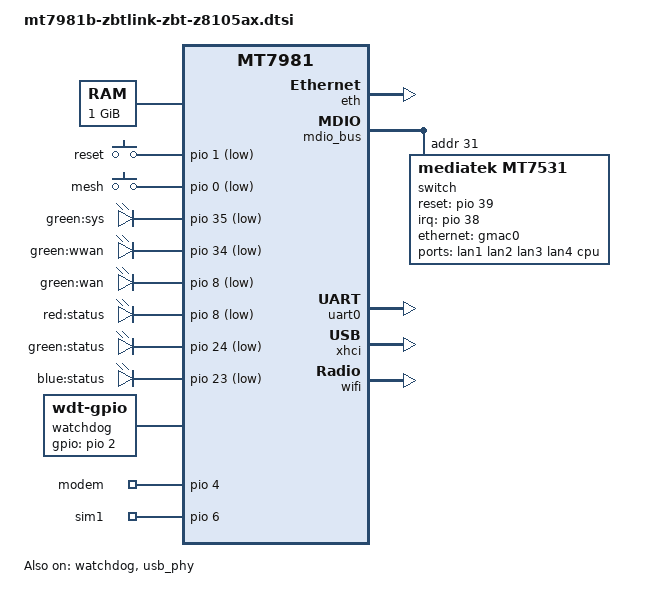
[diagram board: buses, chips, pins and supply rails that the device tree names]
// SPDX-License-Identifier: GPL-2.0-or-later OR MIT

/dts-v1/;

#include "mt7981.dtsi"

/ {
	compatible = "zbtlink,zbt-z8105ax", "mediatek,mt7981";

	aliases {
		serial0 = &uart0;
		led-boot = &led_status_sys;
		led-failsafe = &led_status_sys;
		led-running = &led_status_sys;
		led-upgrade = &led_status_sys;
		label-mac-device = &gmac0;
	};

	memory {
		reg = <0 0x40000000 0 0x40000000>;
	};

	gpio-keys {
		compatible = "gpio-keys";

		button-reset {
			label = "reset";
			linux,code = <KEY_RESTART>;
			gpios = <&pio 1 GPIO_ACTIVE_LOW>;
		};

		button-mesh {
			label = "mesh";
			linux,code = <BTN_0>;
			gpios = <&pio 0 GPIO_ACTIVE_LOW>;
		};
	};

	leds {
		compatible = "gpio-leds";

		led_status_sys: sys {
			label = "green:sys";
			gpios = <&pio 35 GPIO_ACTIVE_LOW>;
		};

		wwan {
			label = "green:wwan";
			gpios = <&pio 34 GPIO_ACTIVE_LOW>;
		};

		wan {
			label = "green:wan";
			gpios = <&pio 8 GPIO_ACTIVE_LOW>;
		};

		red {
			label = "red:status";
			gpios = <&pio 8 GPIO_ACTIVE_LOW>;
		};

		green {
			label = "green:status";
			gpios = <&pio 24 GPIO_ACTIVE_LOW>;
		};

		blue {
			label = "blue:status";
			gpios = <&pio 23 GPIO_ACTIVE_LOW>;
		};

	};

	watchdog {
		compatible = "linux,wdt-gpio";
		gpios = <&pio 2 GPIO_ACTIVE_HIGH>;
		hw_algo = "toggle";
		hw_margin_ms = <1000>;
	};

	gpio-export {
		compatible = "gpio-export";
		#size-cells = <0>;

		modem {
			gpio-export,name = "modem";
			gpio-export,output = <1>;
			gpios = <&pio 4 GPIO_ACTIVE_HIGH>;
		};


		sim {
			gpio-export,name = "sim1";
			gpio-export,output = <0>;
			gpios = <&pio 6 GPIO_ACTIVE_HIGH>;
		};

	};
};

&eth {
	status = "okay";

	gmac0: mac@0 {
		/* LAN */
		compatible = "mediatek,eth-mac";
		reg = <0>;
		phy-mode = "2500base-x";

		nvmem-cell-names = "mac-address";
		nvmem-cells = <&macaddr_factory_4 2>;

		fixed-link {
			speed = <2500>;
			full-duplex;
			pause;
		};
	};

	gmac1: mac@1 {
		/* WAN */
		compatible = "mediatek,eth-mac";
		reg = <1>;
		phy-mode = "gmii";
		phy-handle = <&int_gbe_phy>;

		nvmem-cell-names = "mac-address";
		nvmem-cells = <&macaddr_factory_4 3>;
	};
};

&mdio_bus {
	switch: switch@1f {
		compatible = "mediatek,mt7531";
		reg = <31>;
		reset-gpios = <&pio 39 GPIO_ACTIVE_HIGH>;
		interrupt-controller;
		#interrupt-cells = <1>;
		interrupt-parent = <&pio>;
		interrupts = <38 IRQ_TYPE_LEVEL_HIGH>;
	};
};

&switch {
	ports {
		#address-cells = <1>;
		#size-cells = <0>;

		port@0 {
			reg = <0>;
			label = "lan1";
		};

		port@1 {
			reg = <1>;
			label = "lan2";
		};

		port@2 {
			reg = <2>;
			label = "lan3";
		};

		port@3 {
			reg = <3>;
			label = "lan4";
		};

		port@6 {
			reg = <6>;
			label = "cpu";
			ethernet = <&gmac0>;
			phy-mode = "2500base-x";

			fixed-link {
				speed = <2500>;
				full-duplex;
				pause;
			};
		};
	};
};

&uart0 {
	status = "okay";
};

&watchdog {
	status = "okay";
};

&usb_phy {
	status = "okay";
};

&xhci {
	status = "okay";
};

&wifi {
	status = "okay";

	nvmem-cells = <&eeprom_factory>;
	nvmem-cell-names = "eeprom";
};
